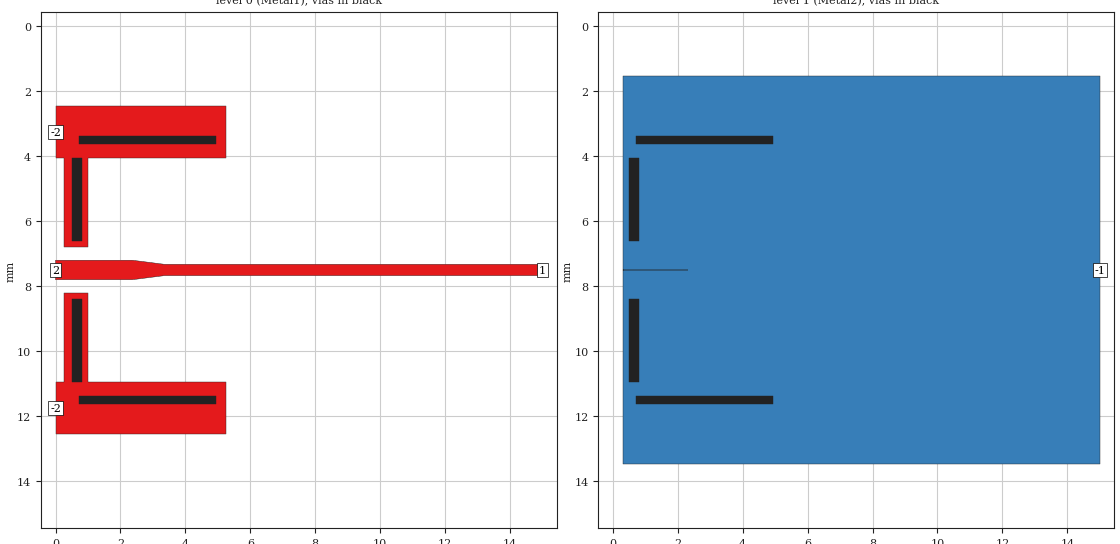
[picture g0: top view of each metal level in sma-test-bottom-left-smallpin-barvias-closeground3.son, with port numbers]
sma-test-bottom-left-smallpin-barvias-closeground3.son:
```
FTYP SONPROJ 18 ! Sonnet Project File
VER 17.56
HEADER
LIC antikernel2.1.50170 ac1f6b6437c5 havequick azonenberg Level3Gold
DAT 04/07/2021 10:01:12
BUILT_BY_CREATED dxf 17.52.2 05/01/2020 05:35:06
BUILT_BY_SAVED sonnet 17.56
MDATE 04/07/2021 09:51:24
HDATE 04/07/2021 09:51:24
ANN Created by dxfgeo, Sonnet Software Inc.
END HEADER
DIM
ANG DEG
CAP PF
CON /OH
FREQ GHZ
IND NH
LNG MM
RES OH
END DIM
CONTROL
VARSWP
OPTIONS  -dj
SPEED 1
CACHE_ABS 1
Q_ACC N
END CONTROL
GEO
SYM
TMET "Free Space" 0 FREESPACE 376.7303136 0 0 0
BMET "Free Space" 0 FREESPACE 376.7303136 0 0 0
MET "Copper 1oz thick" 2 TMM 58000000 0.5 0.035 2
MET "Nickel " 3 TMM 14300000 0.5 3.5e-05 2
MET "Copper 0.5oz" 1 NOR 58000000 0.5 0.0175 
MET "Unknown_metal" 1 NOR INF 0.5 0 
MET "Unknown_metal" 1 VOL INF 0
BRI "Alumina (96%)" 0 9.4 0.0004 0 
BRI "Alumina (99.5%)" 0 9.9 0.0001 0 
BRI "Aluminum Nitride" 0 8.6 0.0003 0 
BRI "Arlon 25FR" 0 3.58 0.0035 0 
BRI "Arlon 25N" 0 3.38 0.0025 0 
BRI "Arlon AD5" 0 5.1 0.003 0 
BRI "Arlon AD10" 0 10.2 0.005 0 
BRI "Arlon AD250" 0 2.5 0.0018 0 
BRI "Arlon AD255A" 0 2.55 0.0015 0 
BRI "Arlon AD260A" 0 2.6 0.0018 0 
BRI "Arlon AD270" 0 2.7 0.0023 0 
BRI "Arlon AD300A" 0 3 0.002 0 
BRI "Arlon AD320A" 0 3.2 0.0032 0 
BRI "Arlon AD350A" 0 3.5 0.003 0 
BRI "Arlon AD410" 0 4.1 0.003 0 
BRI "Arlon AD430" 0 4.3 0.003 0 
BRI "Arlon AD450" 0 4.5 0.0035 0 
BRI "Arlon AD600" 0 6.15 0.003 0 
BRI "Arlon AD1000" 0 10.2 0.0023 0 
BRI "Arlon AR1000" 0 9.8 0.003 0 
BRI "Arlon CLTE" 0 2.96 0.0023 0 
BRI "Arlon CLTE-AT" 0 3 0.0013 0 
BRI "Arlon CLTE-P" 0 2.94 0.0025 0 
BRI "Arlon CLTE-XT" 0 2.94 0.0012 0 
BRI "Arlon Cu 217LX" 0 2.17 0.0009 0 
BRI "Arlon Cu 233LX" 0 2.33 0.0013 0 
BRI "Arlon Cu 250GT" 0 2.5 0.001 0 
BRI "Arlon Cu 250GX" 0 2.5 0.0018 0 
BRI "Arlon Cu 6250" 0 2.32 0.0013 0 
BRI "Arlon Cu 6700" 0 2.35 0.0025 0 
BRI "Arlon Di 522" 0 2.5 0.001 0 
BRI "Arlon Di 527" 0 2.5 0.0018 0 
BRI "Arlon Di 870" 0 2.33 0.0013 0 
BRI "Arlon Di 880" 0 2.17 0.0009 0 
BRI "Arlon Iso 917" 0 2.17 0.0013 0 
BRI "Arlon Iso 933" 0 2.33 0.0016 0 
BRI "Arlon Multi HF" 0 3.7 0.004 0 
BRI "Arlon TC350" 0 3.5 0.002 0 
BRI "Arlon TC600" 0 6.15 0.002 0 
BRI "Beryllia (99.5%)" 0 6.5 0.0004 0 
BRI "CEM-1" 0 4.5 0.02 0 
BRI "CEM-3" 0 4.5 0.02 0 
BRI "Dupont 9K7" 0 7.1 0.0012 0 
BRI "Dupont 943" 0 7.4 0.002 0 
BRI "Dupont 951" 0 7.8 0.006 0 
BRI "Dupont FEP" 0 2 0.0005 0 
BRI "Dupont Vacrel" 0 3.8 0.011 0 
BRI "ESL 41010" 0 7.5 0.005 0 
BRI "ESL 41020" 0 7.25 0.005 0 
BRI "ESL 41050" 0 13.5 0.002 0 
BRI "ESL 41060" 0 16.5 0.002 0 
BRI "ESL 41110" 0 4.5 0.004 0 
BRI "Ferro A6M" 0 5.9 0.002 0 
BRI "Ferro A6S" 0 5.9 0.002 0 
BRI "Ferro L8" 0 7.3 0.0018 0 
BRI "FR-4" 0 4.4 0.02 0 
BRI "G-10" 0 4.8 0.025 0 
BRI "Gallium Arsenide" 0 12.9 0.006 0 
BRI "Gallium Nitride" 0 9.7 0 0 
BRI "Glass (Pyrex)" 0 4.82 0.0054 0 
BRI "Heraeus HL2000" 0 7.3 0.0026 0 
BRI "Isola 370HR" 0 4.04 0.021 0 
BRI "Isola FR408" 0 3.77 0.0116 0 
BRI "Isola FR408HR" 0 3.68 0.0092 0 
BRI "Isola Getek" 0 3.6 0.01 0 
BRI "Isola GI-180" 0 3.7 0.013 0 
BRI "Isola IS415" 0 3.82 0.0125 0 
BRI "Isola IS620i" 0 3.58 0.006 0 
BRI "Isola IS680-280" 0 2.8 0.0025 0 
BRI "Isola IS680-300" 0 3 0.003 0 
BRI "Isola IS680-320" 0 3.2 0.003 0 
BRI "Isola IS680-333" 0 3.33 0.003 0 
BRI "Isola IS680-338" 0 3.38 0.0032 0 
BRI "Isola IS680-345" 0 3.45 0.0036 0 
BRI "Kerafol CT800" 0 5.3 0.008 0 
BRI "Nelco MW9350" 0 3.7 0.004 0 
BRI "Nelco N4000-12" 0 3.7 0.008 0 
BRI "Nelco N4000-13" 0 3.7 0.009 0 
BRI "Nelco N4000-13SI" 0 3.2 0.007 0 
BRI "Nelco N4000-13EP" 0 3.7 0.008 0 
BRI "Nelco N4350-13RF" 0 3.5 0.0065 0 
BRI "Nelco N4380-13RF" 0 3.8 0.007 0 
BRI "Nelco N9300-13RF" 0 3 0.004 0 
BRI "Nelco N9320-13RF" 0 3.2 0.0045 0 
BRI "Nelco N9338-13RF" 0 3.38 0.0046 0 
BRI "Nelco N9350-13RF" 0 3.48 0.0055 0 
BRI "Nelco NH9294" 0 2.94 0.0022 0 
BRI "Nelco NH9300" 0 3 0.0023 0 
BRI "Nelco NH9320" 0 3.2 0.0024 0 
BRI "Nelco NH9338" 0 3.38 0.0025 0 
BRI "Nelco NH9348" 0 3.48 0.003 0 
BRI "Nelco NH9350" 0 3.5 0.003 0 
BRI "Nelco NH9410" 0 4.1 0.003 0 
BRI "Nelco NH9450" 0 4.5 0.003 0 
BRI "Nelco NX9240" 0 2.4 0.0016 0 
BRI "Nelco NX9245" 0 2.45 0.0016 0 
BRI "Nelco NX9250" 0 2.5 0.0017 0 
BRI "Nelco NX9255" 0 2.55 0.0018 0 
BRI "Nelco NX9260" 0 2.6 0.0019 0 
BRI "Nelco NY9208" 0 2.08 0.0006 0 
BRI "Nelco NY9217" 0 2.17 0.0008 0 
BRI "Nelco NY9220" 0 2.2 0.0009 0 
BRI "Nelco NY9233" 0 2.33 0.0011 0 
BRI "PET" 0 3.37 0.0208 0 
BRI "Polyimide" 0 3.5 0.003 0 
BRI "Quartz (Fused)" 0 3.78 0.0001 0 
BRI "Rogers 3001" 0 2.28 0.003 0 
BRI "Rogers RO2808" 0 7.6 0.0015 0 
BRI "Rogers RO3003" 0 3 0.0013 0 
BRI "Rogers RO3006" 0 6.5 0.002 0 
BRI "Rogers RO3010" 0 11.2 0.0022 0 
BRI "Rogers RO3035" 0 3.6 0.0018 0 
BRI "Rogers RO3203" 0 3.02 0.0016 0 
BRI "Rogers RO3206" 0 6.6 0.0027 0 
BRI "Rogers RO3210" 0 10.8 0.0027 0 
BRI "Rogers RO3730" 0 3 0.0016 0 
BRI "Rogers RO4003C" 0 3.55 0.0029 0 
BRI "Rogers RO4533" 0 3.45 0.0029 0 
BRI "Rogers RO4534" 0 3.4 0.003 0 
BRI "Rogers RO4350B" 0 3.66 0.0037 0 
BRI "Rogers RO4350BTX" 0 3.66 0.0034 0 
BRI "Rogers RO4360" 0 6.15 0.0038 0 
BRI "Rogers RO4450B-3.6" 0 3.3 0.0043 0 
BRI "Rogers RO4450B-4" 0 3.54 0.004 0 
BRI "Rogers RO4450F" 0 3.52 0.0041 0 
BRI "Rogers RO4730" 0 3 0.0033 0 
BRI "Rogers RT5870" 0 2.33 0.0012 0 
BRI "Rogers RT5880" 0 2.2 0.0009 0 
BRI "Rogers RT5880LZ" 0 1.96 0.0019 0 
BRI "Rogers RT6002" 0 2.94 0.0012 0 
BRI "Rogers RT6006" 0 6.15 0.0027 0 
BRI "Rogers RT6010LM" 0 10.9 0.0023 0 
BRI "Rogers RT6035HTC" 0 3.6 0.0013 0 
BRI "Rogers RT6202" 0 2.94 0.0015 0 
BRI "Rogers RT6202PR" 0 2.95 0.0015 0 
BRI "Rogers Syron7000" 0 3.4 0.0045 0 
BRI "Rogers Syron7100-2" 0 3.61 0.006 0 
BRI "Rogers Syron7100-4" 0 3.39 0.005 0 
BRI "Rogers Theta" 0 4.01 0.0118 0 
BRI "Rogers TMM 3" 0 3.39 0.002 0 
BRI "Rogers TMM 4" 0 4.5 0.002 0 
BRI "Rogers TMM 6" 0 6 0.0023 0 
BRI "Rogers TMM 10" 0 9.56 0.0022 0 
BRI "Rogers TMM 10i" 0 9.96 0.002 0 
BRI "Rogers UL2000" 0 2.5 0.0019 0 
BRI "Rogers UL3850" 0 3.05 0.0025 0 
BRI "Rogers UL3908" 0 2.9 0.0025 0 
BRI "Rogers XT8000" 0 3.34 0.0035 0 
BRI "Rogers XT8100-2" 0 3.54 0.0049 0 
BRI "Rogers XT8100-4" 0 3.32 0.0038 0 
BRI "Silicon (intrinsic)" 0 11.9 0.004 0.00044 
BRI "Silicon Dioxide" 0 3.9 0 0 
BRI "Silicon Nitride" 0 7.5 0 0 
BRI "Taconic CER-10" 0 10 0.0035 0 
BRI "Taconic FastFilm" 0 2.7 0.0012 0 
BRI "Taconic Fastrise-DS" 0 2.96 0.0018 0 
BRI "Taconic Fastrise27" 0 2.7 0.0014 0 
BRI "Taconic Fastrise77" 0 7.7 0.0034 0 
BRI "Taconic FEP" 0 2 0.0003 0 
BRI "Taconic RF-30" 0 3 0.0014 0 
BRI "Taconic RF-35" 0 3.5 0.0018 0 
BRI "Taconic RF-35A2" 0 3.5 0.0011 0 
BRI "Taconic RF-35P" 0 3.5 0.0025 0 
BRI "Taconic RF-41" 0 4.1 0.0038 0 
BRI "Taconic RF-43" 0 4.3 0.0033 0 
BRI "Taconic RF-45" 0 4.5 0.0037 0 
BRI "Taconic RF-60A" 0 6.15 0.0038 0 
BRI "Taconic RF-301" 0 2.97 0.0012 0 
BRI "Taconic TacBond HT" 0 2.35 0.0025 0 
BRI "Taconic TLA-6" 0 2.62 0.0012 0 
BRI "Taconic TLC-27" 0 2.75 0.003 0 
BRI "Taconic TLC-30" 0 3 0.003 0 
BRI "Taconic TLC-32" 0 3.2 0.003 0 
BRI "Taconic TLE-95" 0 2.95 0.0028 0 
BRI "Taconic TLF-34" 0 3.4 0.002 0 
BRI "Taconic TLF-35" 0 3.5 0.002 0 
BRI "Taconic TLP-3" 0 2.33 0.0009 0 
BRI "Taconic TLP-5" 0 2.2 0.0009 0 
BRI "Taconic TLP-5A" 0 2.17 0.0009 0 
BRI "Taconic TLT-0" 0 2.45 0.0006 0 
BRI "Taconic TLT-9" 0 2.5 0.0006 0 
BRI "Taconic TLT-8" 0 2.55 0.0006 0 
BRI "Taconic TLT-7" 0 2.6 0.0006 0 
BRI "Taconic TLT-6" 0 2.65 0.0006 0 
BRI "Taconic TLX-0" 0 2.45 0.0019 0 
BRI "Taconic TLX-9" 0 2.5 0.0019 0 
BRI "Taconic TLX-8" 0 2.55 0.0019 0 
BRI "Taconic TLX-7" 0 2.6 0.0019 0 
BRI "Taconic TLX-6" 0 2.65 0.0019 0 
BRI "Taconic TLY-3" 0 2.33 0.0009 0 
BRI "Taconic TLY-3F" 0 2.33 0.0009 0 
BRI "Taconic TLY-5" 0 2.2 0.0009 0 
BRI "Taconic TLY-5-L" 0 2.2 0.0009 0 
BRI "Taconic TLY-5A" 0 2.17 0.0009 0 
BRI "Taconic TLY-5A-L" 0 2.17 0.0009 0 
BRI "Taconic TPG-30" 0 3 0.0038 0 
BRI "Taconic TPG-32" 0 3.2 0.005 0 
BRI "Taconic TPG-35" 0 3.5 0.005 0 
BRI "Taconic TRF-41" 0 4.1 0.0035 0 
BRI "Taconic TRF-43" 0 4.3 0.0035 0 
BRI "Taconic TRF-45" 0 4.5 0.0035 0 
BRI "Taconic TSM-DS" 0 2.85 0.001 0 
BRI "Taconic TSM-DS3" 0 3 0.0011 0 
BRI "Taconic TSM-26" 0 2.6 0.0014 0 
BRI "Taconic TSM-29" 0 2.94 0.0013 0 
BRI "Taconic TSM-30" 0 3 0.0013 0 
BRI "Teflon (PTFE)" 0 2.08 0.0004 0 
BOX 3 15 15 1200 1200 20 0
      1 1 1 0 0 0 0 "Air"
      0.166 3.6 1 0.0092 0 0 0 "Isola FR408HR"
      1.4 3.6 1 0.0092 0 0 0 "Isola FR408HR"
      1 1 1 0 0 0 0 "Air"
TECHLAY METAL Metal1 BLACK -2 0 
0 0 0 N 1435 1 1 100 100 0 0 0 Y
END
END
TECHLAY METAL Metal2 BLACK -3 0 
1 0 2 N 1442 1 1 100 100 0 0 0 Y
END
END
TECHLAY VIA Via1 <UNSPECIFIED> -4 0 
VIA POLYGON
1 0 -1 N 1445 1 1 100 100 0 0 0 Y
TOLEVEL 0 RING NOCOVERS
END
END
VALVAR BOTLEN LNG 2 "Dim. Param."
VALVAR TOPLEN LNG 3 "Dim. Param."
VALVAR SIGWIDTH LNG 0.35 "Dim. Param."
VALVAR CUTY LNG 0 "Dim. Param."
VALVAR CUTX LNG 2 "Dim. Param."
VALVAR PINWIDTH LNG 0.6 "Dim. Param."
DIM STD YDIR -1
POS -1.871525801 -5.298545243
NOM 6.9
REF1 POLY 1214 1
5
REF2 POLY 1213 1
4
END
LORGN 0 15 U 
POR1 BOX
POLY 1213 1
3
-2 50 0 0 0 0 3.25 
POR1 BOX
POLY 1214 1
5
-2 50 0 0 0 0 11.75 
POR1 BOX
POLY 1467 1
7
2 50 0 0 0 0 7.5 
POR1 BOX
POLY 1467 1
3
1 50 0 0 0 15 7.5 
POR1 BOX
POLY 702 1
7
-1 50 0 0 0 15 7.5 
NUM 9
0 9 0 N 1213 1 1 100 100 0 0 0 Y
TLAYNAM Metal1 INH
1 4.05
5.2625 4.05
5.2625 2.45
0 2.45
0 4.05
0.25 4.05
0.25 6.8
1 6.8
1 4.05
END
0 9 0 N 1214 1 1 100 100 0 0 0 Y
TLAYNAM Metal1 INH
5.2625 10.95
1 10.95
1 8.2
0.25 8.2
0.25 10.95
0 10.95
0 12.55
5.2625 12.55
5.2625 10.95
END
0 2 0 N 1465 1 1 100 100 0 0 0 Y
TLAYNAM Metal1 INH
1.525 7.175
1.525 7.175
END
0 12 0 N 1467 1 1 100 100 0 0 0 Y
TLAYNAM Metal1 INH
2.3625 7.8
3.35 7.675
3.35 7.675
15 7.675
15 7.325
3.35 7.325
2.3625 7.2
0 7.2
0 7.8
1.65 7.8
1.65 7.8
2.3625 7.8
END
VIA POLYGON
0 5 -1 N 1207 1 1 100 100 0 0 0 Y
TOLEVEL 1 RING NOCOVERS
0.5 4.05
0.8 4.05
0.8 6.6
0.5 6.6
0.5 4.05
END
VIA POLYGON
0 5 -1 N 1210 1 1 100 100 0 0 0 Y
TOLEVEL 1 RING NOCOVERS
0.5 8.4
0.8 8.4
0.8 10.95
0.5 10.95
0.5 8.4
END
1 9 2 N 702 1 1 100 100 0 0 0 Y
TLAYNAM Metal2 INH
15 1.525
0.3125 1.525
0.3125 7.5
2.3125 7.5
2.3125 7.5
0.3125 7.5
0.3125 13.475
15 13.475
15 1.525
END
VIA POLYGON
1 5 -1 N 953 1 1 100 100 0 0 0 Y
TOLEVEL 0 RING NOCOVERS
TLAYNAM Via1 INH
0.725 3.375
4.95 3.375
4.95 3.625
0.725 3.625
0.725 3.375
END
VIA POLYGON
1 5 -1 N 954 1 1 100 100 0 0 0 Y
TOLEVEL 0 RING NOCOVERS
TLAYNAM Via1 INH
0.725 11.375
4.95 11.375
4.95 11.625
0.725 11.625
0.725 11.375
END
END GEO
OPT
MAX 100
END OPT
VARSWP
SWPVARS ON
ENABLED Y
FREQ Y AY ABS_ENTRY 0.01 16.0 -1 300 
VAR CUTY N 1.0 2.0 0.5
VAR CUTX N 1.5 2.5 0.5
VAR PINWIDTH N 1.5 1.5 UNDEF
END
END VARSWP
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```
